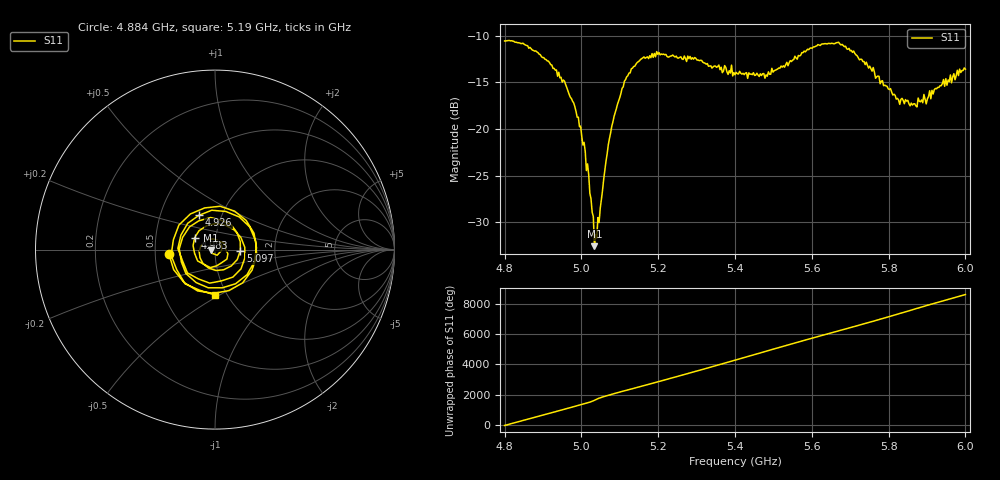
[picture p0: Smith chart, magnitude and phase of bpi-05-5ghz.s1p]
! NanoVNA-App
! Date: 2026-05-22 17:54:42
! Start: 4.8GHz Stop: 6GHz Points: 401
! S-Parameter data: F S11
# Hz S RI R 50
!  Frequency  S11_Real  S11_Imag
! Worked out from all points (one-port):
!   401 points, 4.8 GHz to 6 GHz, reference 50 ohm
!   lowest |S11| = -32.6 dB at 5.034 GHz (marker M1), VSWR 1.05, Z = 47.7 - j0.464 ohm
!   |S11| at or under -10 dB: start of sweep to end of sweep
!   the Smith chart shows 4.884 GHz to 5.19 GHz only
!   S11 on the Smith chart (normalised r, x): 4.884 GHz: 0.59, -0.03; 4.926 GHz: 0.78, +0.31; 4.983 GHz: 0.79, +0.11; 5.097 GHz: 1.33, -0.02; 5.19 GHz: 0.88, -0.48
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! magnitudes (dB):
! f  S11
! 4.8 GHz  -10.6
! 4.884 GHz  -11.7
! 4.926 GHz  -13.5
! 4.95 GHz  -15.0
! 4.983 GHz  -17.6
! 5.004 GHz  -21.7
! 5.013 GHz  -24.5
! 5.034 GHz  -32.6
! 5.04 GHz  -31.7
! 5.073 GHz  -21.0
! 5.097 GHz  -17.0
! 5.1 GHz  -16.6
! 5.118 GHz  -14.4
! 5.136 GHz  -13.3
! 5.19 GHz  -11.9
! 5.25 GHz  -12.4
! 5.4 GHz  -14.2
! 5.484 GHz  -14.4
! 5.55 GHz  -12.6
! 5.631 GHz  -10.9
! 5.667 GHz  -10.7
! 5.7 GHz  -11.6
! 5.757 GHz  -13.8
! 5.823 GHz  -16.7
! 5.85 GHz  -16.9
! 5.868 GHz  -17.3
! 5.895 GHz  -16.8
! 6 GHz  -13.6
